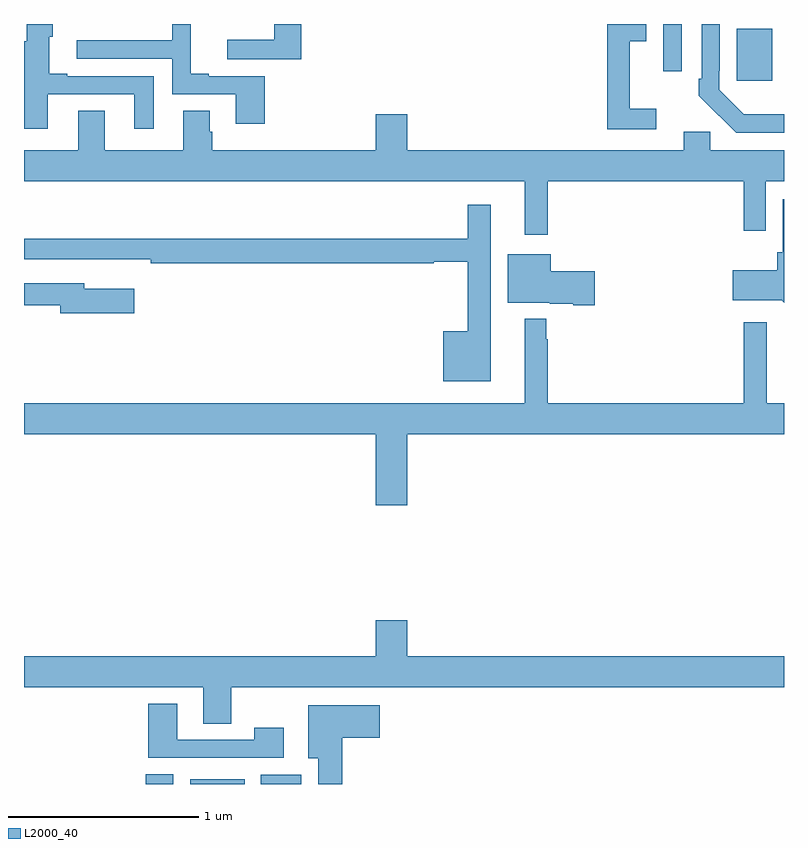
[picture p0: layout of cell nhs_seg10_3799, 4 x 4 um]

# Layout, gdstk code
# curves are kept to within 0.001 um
import gdstk
lib = gdstk.Library(unit=1e-6, precision=1e-09)
def R(c, l, rs):  # rectangles x0, y0, x1, y1
    for r in rs: c.add(gdstk.rectangle(r[:2], r[2:], *l))
def P(c, l, *ps):  # polygons
    for p in ps: c.add(gdstk.Polygon(p, *l))
L2000_40 = (2000, 40)

nhs_seg10_3799 = lib.new_cell('nhs_seg10_3799')
R(nhs_seg10_3799, L2000_40, [(319.64,1274.5,319.786,1274.552), (319.874,1274.5,320.161,1274.524), (320.246,1274.5,320.458,1274.548), (322.751,1278.201,322.939,1278.475), (322.365,1278.252,322.461,1278.5)])
P(nhs_seg10_3799, L2000_40, [(322.327,1278.055),(322.187,1278.055),(322.187,1278.41),(322.276,1278.41),(322.276,1278.5),(322.069,1278.5),(322.069,1277.946),(322.327,1277.946)],
  [(320.459,1278.5),(320.318,1278.5),(320.318,1278.418),(320.07,1278.418),(320.07,1278.314),(320.459,1278.314)],
  [(320.267,1278.225),(319.972,1278.225),(319.972,1278.238),(319.877,1278.238),(319.877,1278.5),(319.779,1278.5),(319.779,1278.414),(319.278,1278.414),(319.278,1278.318),(319.779,1278.318),(319.779,1278.129),(320.114,1278.129),(320.114,1277.976),(320.267,1277.976)],
  [(319.126,1278.129),(319.58,1278.129),(319.58,1277.949),(319.684,1277.949),(319.684,1278.225),(319.228,1278.225),(319.228,1278.238),(319.132,1278.238),(319.132,1278.434),(319.15,1278.434),(319.15,1278.5),(319.014,1278.5),(319.014,1278.409),(319,1278.409),(319,1277.949),(319.126,1277.949)],
  [(323,1278.024),(322.788,1278.025),(322.659,1278.153),(322.659,1278.253),(322.662,1278.253),(322.662,1278.5),(322.566,1278.5),(322.566,1278.211),(322.551,1278.211),(322.551,1278.123),(322.748,1277.928),(323,1277.928)],
  [(321.757,1277.672),(322.789,1277.672),(322.789,1277.412),(322.905,1277.412),(322.905,1277.672),(323,1277.672),(323,1277.836),(322.611,1277.836),(322.611,1277.934),(322.472,1277.934),(322.472,1277.836),(321.016,1277.836),(321.016,1278.025),(320.852,1278.025),(320.852,1277.836),(319.991,1277.836),(319.991,1277.934),(319.978,1277.934),(319.978,1278.044),(319.838,1278.044),(319.838,1277.836),(319.426,1277.836),(319.426,1278.044),(319.286,1278.044),(319.286,1277.836),(319,1277.836),(319,1277.672),(321.635,1277.672),(321.635,1277.391),(321.757,1277.391)],
  [(323,1277.578),(322.994,1277.578),(322.994,1277.298),(322.964,1277.298),(322.964,1277.203),(322.731,1277.203),(322.731,1277.045),(322.989,1277.045),(323,1277.034)],
  [(321.457,1277.548),(321.336,1277.548),(321.336,1277.371),(319,1277.371),(319,1277.262),(319.414,1277.262),(319.414,1277.261),(319.666,1277.261),(319.666,1277.242),(321.157,1277.242),(321.157,1277.25),(321.336,1277.25),(321.336,1276.882),(321.206,1276.882),(321.206,1276.619),(321.457,1276.619)],
  [(322.003,1277.199),(321.772,1277.199),(321.772,1277.287),(321.545,1277.287),(321.545,1277.033),(321.768,1277.033),(321.768,1277.027),(321.89,1277.027),(321.89,1277.021),(322.003,1277.021)],
  [(319.579,1277.107),(319.318,1277.107),(319.318,1277.136),(319,1277.136),(319,1277.02),(319.19,1277.02),(319.19,1276.978),(319.579,1276.978)],
  [(321.016,1276.34),(323,1276.34),(323,1276.504),(322.909,1276.504),(322.909,1276.93),(322.787,1276.93),(322.787,1276.504),(321.757,1276.504),(321.757,1276.841),(321.749,1276.841),(321.749,1276.948),(321.635,1276.948),(321.635,1276.504),(319,1276.504),(319,1276.34),(320.852,1276.34),(320.852,1275.966),(321.016,1275.966)],
  [(323,1275.172),(321.016,1275.172),(321.016,1275.361),(320.852,1275.361),(320.852,1275.172),(319,1275.172),(319,1275.008),(319.943,1275.008),(319.943,1274.818),(320.091,1274.818),(320.091,1275.008),(323,1275.008)],
  [(320.368,1274.797),(320.212,1274.797),(320.212,1274.733),(319.807,1274.733),(319.807,1274.923),(319.655,1274.923),(319.655,1274.637),(320.368,1274.637)],
  [(320.675,1274.744),(320.872,1274.744),(320.872,1274.914),(320.495,1274.914),(320.495,1274.636),(320.549,1274.636),(320.549,1274.5),(320.675,1274.5)])

lib.write_gds('nhs_seg10_3799.gds')
